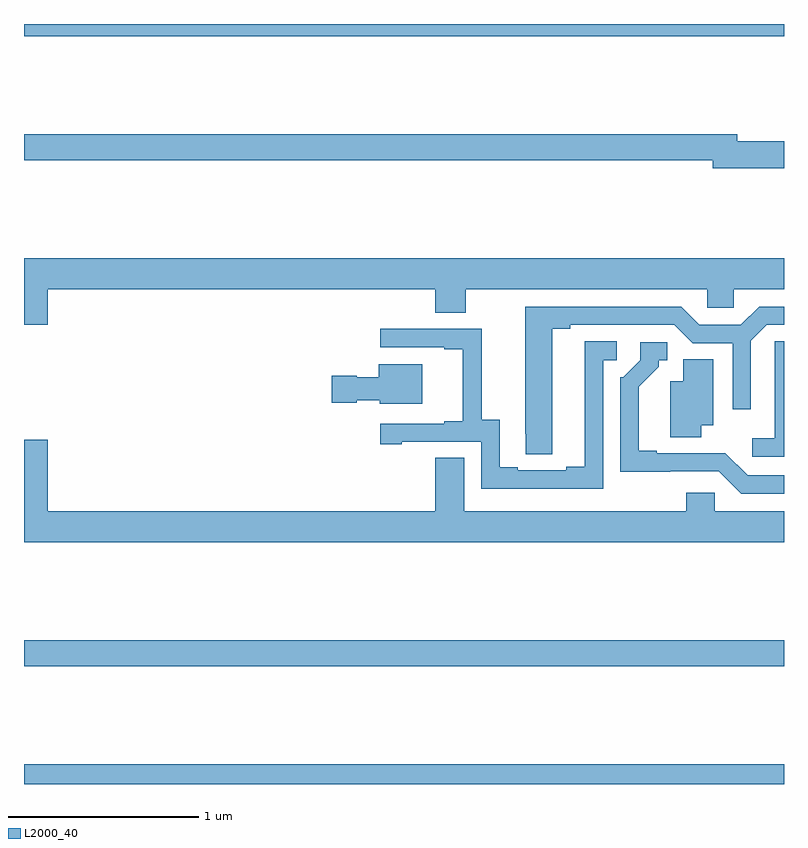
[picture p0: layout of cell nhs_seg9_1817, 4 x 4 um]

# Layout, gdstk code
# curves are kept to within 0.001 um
import gdstk
lib = gdstk.Library(unit=1e-6, precision=1e-09)
def R(c, l, rs):  # rectangles x0, y0, x1, y1
    for r in rs: c.add(gdstk.rectangle(r[:2], r[2:], *l))
def P(c, l, *ps):  # polygons
    for p in ps: c.add(gdstk.Polygon(p, *l))
L2000_40 = (2000, 40)

nhs_seg9_1817 = lib.new_cell('nhs_seg9_1817')
R(nhs_seg9_1817, L2000_40, [(213,1176.5,217,1176.604), (213,1177.12,217,1177.256), (213,1180.436,217,1180.5)])
P(nhs_seg9_1817, L2000_40, [(217,1179.884),(216.754,1179.884),(216.754,1179.92),(213,1179.92),(213,1179.784),(216.626,1179.784),(216.626,1179.742),(217,1179.742)],
  [(213.124,1179.104),(215.165,1179.104),(215.165,1178.98),(215.325,1178.98),(215.325,1179.104),(216.597,1179.104),(216.597,1179.006),(216.735,1179.006),(216.735,1179.104),(217,1179.104),(217,1179.268),(213,1179.268),(213,1178.916),(213.124,1178.916)],
  [(215.779,1178.896),(215.875,1178.896),(215.875,1178.916),(216.423,1178.916),(216.519,1178.82),(216.729,1178.82),(216.729,1178.472),(216.825,1178.472),(216.825,1178.832),(216.909,1178.916),(217,1178.916),(217,1179.012),(216.869,1179.012),(216.773,1178.916),(216.555,1178.916),(216.459,1179.012),(215.639,1179.012),(215.64,1178.236),(215.779,1178.236)],
  [(216.048,1178.73),(216.121,1178.73),(216.121,1178.831),(215.951,1178.831),(215.951,1178.171),(215.855,1178.171),(215.855,1178.151),(215.599,1178.151),(215.599,1178.166),(215.503,1178.166),(215.503,1178.417),(215.409,1178.417),(215.409,1178.895),(214.875,1178.895),(214.875,1178.799),(215.213,1178.799),(215.213,1178.787),(215.309,1178.787),(215.309,1178.41),(215.213,1178.41),(215.213,1178.397),(214.875,1178.397),(214.875,1178.289),(214.987,1178.289),(214.987,1178.301),(215.406,1178.301),(215.406,1178.055),(216.048,1178.055)],
  [(217,1178.831),(216.951,1178.831),(216.951,1178.723),(216.95,1178.723),(216.95,1178.32),(216.834,1178.32),(216.834,1178.223),(217,1178.223)],
  [(217,1178.124),(216.81,1178.124),(216.692,1178.242),(216.331,1178.241),(216.331,1178.254),(216.235,1178.254),(216.235,1178.59),(216.34,1178.695),(216.34,1178.73),(216.385,1178.73),(216.385,1178.826),(216.243,1178.826),(216.243,1178.73),(216.153,1178.64),(216.138,1178.64),(216.138,1178.144),(216.657,1178.145),(216.774,1178.028),(217,1178.028)],
  [(216.565,1178.387),(216.628,1178.387),(216.628,1178.735),(216.47,1178.735),(216.47,1178.62),(216.401,1178.62),(216.401,1178.326),(216.565,1178.326)],
  [(215.095,1178.71),(214.868,1178.71),(214.868,1178.641),(214.752,1178.641),(214.752,1178.649),(214.62,1178.649),(214.62,1178.507),(214.752,1178.507),(214.752,1178.519),(214.872,1178.519),(214.872,1178.501),(215.095,1178.501)],
  [(217,1177.936),(216.636,1177.936),(216.636,1178.034),(216.485,1178.034),(216.485,1177.936),(215.317,1177.936),(215.317,1178.216),(215.165,1178.216),(215.165,1177.936),(213.124,1177.936),(213.124,1178.311),(213,1178.311),(213,1177.772),(217,1177.772)])

lib.write_gds('nhs_seg9_1817.gds')
